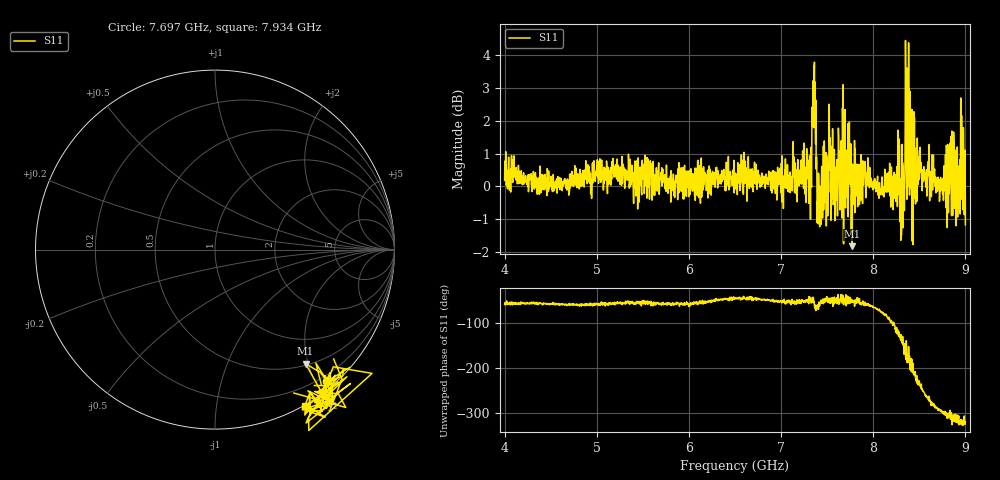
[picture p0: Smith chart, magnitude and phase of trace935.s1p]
! Created with skrf 1.8.0 (http://scikit-rf.org).
# Hz S RI R 50.0
!freq ReS11 ImS11
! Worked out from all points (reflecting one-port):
!   1601 points, 4 GHz to 9 GHz, reference 50 ohm
!   lowest |S11| = -1.8 dB at 7.772 GHz (marker M1), VSWR 9.61, Z = 26.3 - j97.9 ohm
!   phase of S11 starts at -59 deg and turns -261 deg over the sweep
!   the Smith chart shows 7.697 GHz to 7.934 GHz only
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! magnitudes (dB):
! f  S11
! 4 GHz  0.2
! 4.625 GHz  -0.1
! 5.25 GHz  0.2
! 5.875 GHz  0.3
! 6.5 GHz  0.4
! 7.125 GHz  0.6
! 7.306 GHz  0.4
! 7.359 GHz  3.3
! 7.412 GHz  -0.6
! 7.538 GHz  1.2
! 7.591 GHz  0.6
! 7.669 GHz  1.8
! 7.75 GHz  0.1
! 7.772 GHz  -1.8
! 7.891 GHz  0.2
! 8.097 GHz  0.3
! 8.259 GHz  0.6
! 8.312 GHz  1.3
! 8.334 GHz  -0.2
! 8.375 GHz  0.6
! 8.412 GHz  0.7
! 8.447 GHz  2.1
! 8.738 GHz  -0.1
! 8.853 GHz  1.7
! 8.919 GHz  -0.3
! 8.956 GHz  0.2
! 8.972 GHz  0.9
! 9 GHz  -1.2
